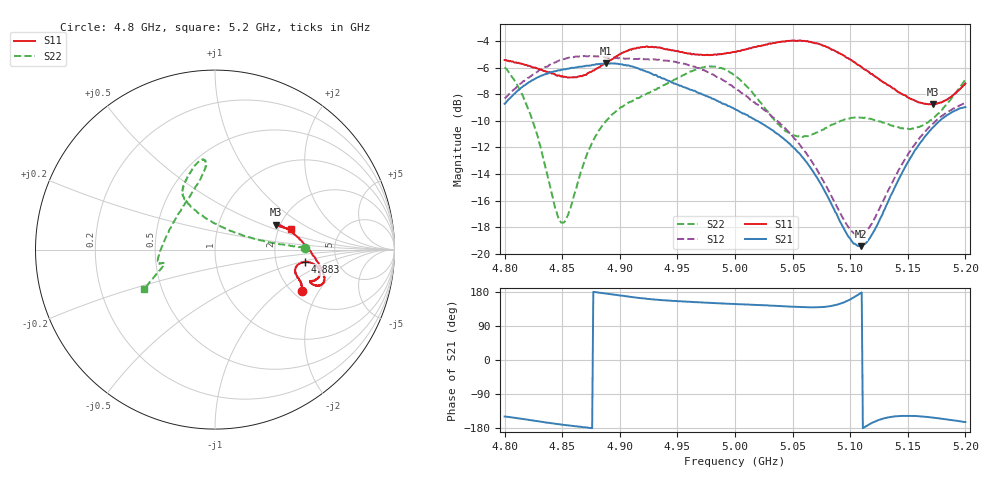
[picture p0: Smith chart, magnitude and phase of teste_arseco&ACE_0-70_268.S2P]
! Network Analyzer HP8722D
! Hewlett-Packard
! Data name: Linha & Wilkinson
! Saver's name: Rodrigo Anjos
! Comments: Teste da utilização de aquisição
! continua pelo VNA HP8722D
! Time and date: 8/5/2025 14:59
!  Frequency  S11  S21  S12  S22
# HZ  S  MA R 50
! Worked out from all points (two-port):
!   401 points, 4.8 GHz to 5.2 GHz, reference 50 ohm
!   highest |S21| = -5.68 dB at 4.888 GHz (marker M1); lowest = -19.4 dB at 5.109 GHz (marker M2)
!   |S21| within 3 dB of the highest: 4.801 GHz to 4.989 GHz (188 MHz wide, 3.84 % of centre)
!   lowest |S11| = -8.8 dB at 5.172 GHz (marker M3), VSWR 2.15, Z = 94.6 + j30.2 ohm
!   |S11| at or under -10 dB: nowhere
!   |S22| runs from -17.7 to -5.9 dB; largest |S21 - S12| = 1.1
!   S11 on the Smith chart (normalised r, x): 4.8 GHz: 2.23, -1.43; 4.883 GHz: 2.93, -0.54; 5.2 GHz: 2.34, +0.65
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4.8e9  0.5349 -25.4  0.3662 -149.2  0.3836 10.4  0.502 1.2
4.812e9  0.5223 -22.2  0.4124 -154.0  0.4282 8.5  0.4223 2.7
4.823e9  0.5056 -20.4  0.4465 -159.0  0.4657 7.0  0.3277 6.4
4.848e9  0.4664 -16.1  0.4888 -169.8  0.5334 3.0  0.1335 55.1
4.855e9  0.4591 -14.3  0.496 -172.5  0.5447 1.8  0.1397 85.2
4.867e9  0.4649 -10.9  0.5046 -176.7  0.5509 0.2  0.2071 111.7
4.883e9  0.505 -7.8  0.5165 177.4  0.5487 -1.2  0.2948 120.5
4.888e9  0.5211 -7.6  0.5198 175.3  0.5475 -1.2  0.3151 120.8
4.911e9  0.5896 -10.6  0.5051 166.0  0.5406 -0.5  0.3749 119.0
4.934e9  0.5967 -15.6  0.462 158.5  0.537 -1.5  0.4199 112.3
4.974e9  0.5587 -18.5  0.3938 151.5  0.4875 -5.4  0.5045 99.1
5e9  0.5743 -19.4  0.3501 147.6  0.4191 -5.3  0.4678 96.6
5.016e9  0.5967 -19.5  0.3217 145.7  0.3722 -3.2  0.3988 101.9
5.043e9  0.6269 -17.8  0.2686 141.8  0.2982 2.7  0.2917 130.4
5.067e9  0.6225 -13.5  0.2064 138.8  0.2213 9.4  0.281 164.6
5.098e9  0.5443 -2.7  0.1167 156.8  0.1268 37.6  0.3221 -170.4
5.109e9  0.5068 2.4  0.1068 176.4  0.1179 59.5  0.3249 -167.4
5.119e9  0.4741 7.6  0.1182 -165.9  0.1301 78.6  0.3203 -166.1
5.134e9  0.4282 14.7  0.1609 -150.9  0.1759 94.8  0.3061 -165.7
5.153e9  0.3813 20.9  0.2317 -147.5  0.2467 101.3  0.295 -164.3
5.172e9  0.3644 22.3  0.2988 -152.1  0.3093 102.2  0.3237 -160.0
5.2e9  0.4368 14.9  0.356 -163.8  0.3691 102.7  0.4508 -150.8
